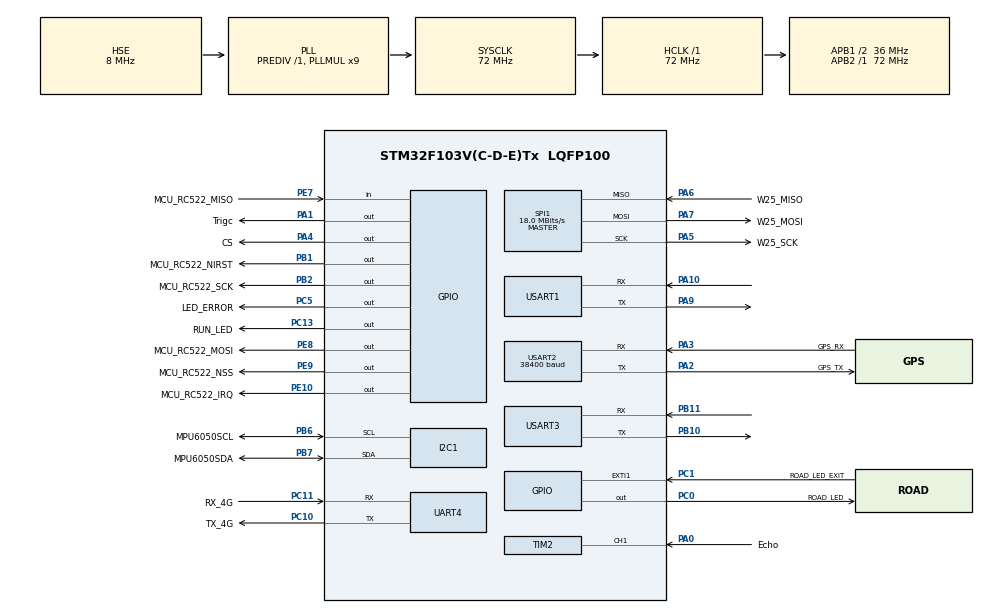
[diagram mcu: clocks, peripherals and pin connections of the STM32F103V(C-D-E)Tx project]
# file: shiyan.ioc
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Dma.Request0=UART4_RX
Dma.Request1=USART1_RX
Dma.UART4_RX.0.Direction=DMA_PERIPH_TO_MEMORY
Dma.UART4_RX.0.Instance=DMA2_Channel3
Dma.UART4_RX.0.MemDataAlignment=DMA_MDATAALIGN_BYTE
Dma.UART4_RX.0.MemInc=DMA_MINC_ENABLE
Dma.UART4_RX.0.Mode=DMA_CIRCULAR
Dma.UART4_RX.0.PeriphDataAlignment=DMA_PDATAALIGN_BYTE
Dma.UART4_RX.0.PeriphInc=DMA_PINC_DISABLE
Dma.UART4_RX.0.Priority=DMA_PRIORITY_LOW
Dma.USART1_RX.1.Direction=DMA_PERIPH_TO_MEMORY
Dma.USART1_RX.1.Instance=DMA1_Channel5
Dma.USART1_RX.1.MemDataAlignment=DMA_MDATAALIGN_BYTE
Dma.USART1_RX.1.MemInc=DMA_MINC_ENABLE
Dma.USART1_RX.1.Mode=DMA_CIRCULAR
Dma.USART1_RX.1.PeriphDataAlignment=DMA_PDATAALIGN_BYTE
Dma.USART1_RX.1.PeriphInc=DMA_PINC_DISABLE
Dma.USART1_RX.1.Priority=DMA_PRIORITY_LOW
FREERTOS.Mutexes01=Mutex_flag,Dynamic,NULL;Mutex_ziyuan,Dynamic,NULL
FREERTOS.Tasks01=defaultTask,0,512,StartDefaultTask,Default,NULL,Dynamic,NULL,NULL
FREERTOS.Timers01=sendTimer,sendCallback,osTimerPeriodic,Default,NULL,Dynamic,NULL
FREERTOS.configTIMER_TASK_PRIORITY=3
FREERTOS.configTOTAL_HEAP_SIZE=20000
FREERTOS.configUSE_STATS_FORMATTING_FUNCTIONS=1
FREERTOS.configUSE_TIMERS=1
FREERTOS.configUSE_TRACE_FACILITY=1
IWDG.Prescaler=IWDG_PRESCALER_64
Mcu.Family=STM32F1
Mcu.Name=STM32F103V(C-D-E)Tx
Mcu.Package=LQFP100
NVIC.DMA1_Channel5_IRQn=true\:5\:0\:false\:false\:true\:true\:false\:true\:true
NVIC.DMA2_Channel3_IRQn=true\:5\:0\:false\:false\:true\:true\:false\:true\:true
NVIC.EXTI1_IRQn=true\:5\:0\:true\:false\:true\:true\:true\:true\:true
NVIC.PriorityGroup=NVIC_PRIORITYGROUP_4
NVIC.TIM2_IRQn=true\:5\:0\:false\:false\:true\:true\:true\:true\:true
NVIC.TIM6_IRQn=true\:15\:0\:false\:false\:true\:false\:false\:true\:true
NVIC.TIM7_IRQn=true\:5\:0\:false\:false\:true\:true\:true\:true\:true
NVIC.TimeBase=TIM6_IRQn
NVIC.TimeBaseIP=TIM6
NVIC.UART4_IRQn=true\:5\:0\:false\:false\:true\:true\:true\:true\:true
NVIC.USART1_IRQn=true\:5\:0\:false\:false\:true\:true\:true\:true\:true
NVIC.USART2_IRQn=true\:5\:0\:false\:false\:true\:true\:true\:true\:true
OSC_IN.Mode=HSE-External-Oscillator
OSC_IN.Signal=RCC_OSC_IN
OSC_OUT.Mode=HSE-External-Oscillator
OSC_OUT.Signal=RCC_OSC_OUT
PA0-WKUP.GPIO_Label=Echo
PA0-WKUP.Signal=S_TIM2_CH1_ETR
PA1.GPIO_Label=Trigc
PA1.Signal=GPIO_Output
PA10.Mode=Asynchronous
PA10.Signal=USART1_RX
PA13.Mode=Serial_Wire
PA13.Signal=SYS_JTMS-SWDIO
PA14.Mode=Serial_Wire
PA14.Signal=SYS_JTCK-SWCLK
PA2.GPIO_Label=GPS_TX
PA2.Mode=Asynchronous
PA2.Signal=USART2_TX
PA3.GPIO_Label=GPS_RX
PA3.Mode=Asynchronous
PA3.Signal=USART2_RX
PA4.GPIO_Label=CS
PA4.Signal=GPIO_Output
PA5.GPIO_Label=W25_SCK
PA5.Mode=Full_Duplex_Master
PA5.Signal=SPI1_SCK
PA6.GPIO_Label=W25_MISO
PA6.Mode=Full_Duplex_Master
PA6.Signal=SPI1_MISO
PA7.GPIO_Label=W25_MOSI
PA7.Mode=Full_Duplex_Master
PA7.Signal=SPI1_MOSI
PA9.Mode=Asynchronous
PA9.Signal=USART1_TX
PB1.GPIO_Label=MCU_RC522_NIRST
PB1.Signal=GPIO_Output
PB10.Mode=Asynchronous
PB10.Signal=USART3_TX
PB11.Mode=Asynchronous
PB11.Signal=USART3_RX
PB2.GPIO_Label=MCU_RC522_SCK
PB2.Signal=GPIO_Output
PB6.GPIO_Label=MPU6050SCL
PB6.Mode=I2C
PB6.Signal=I2C1_SCL
PB7.GPIO_Label=MPU6050SDA
PB7.Mode=I2C
PB7.Signal=I2C1_SDA
PC0.GPIO_Label=ROAD_LED
PC0.Signal=GPIO_Output
PC1.GPIO_Label=ROAD_LED_EXIT
PC1.Signal=GPXTI1
PC10.GPIO_Label=TX_4G
PC10.Mode=Asynchronous
PC10.Signal=UART4_TX
PC11.GPIO_Label=RX_4G
PC11.Mode=Asynchronous
PC11.Signal=UART4_RX
PC13-TAMPER-RTC.GPIO_Label=RUN_LED
PC13-TAMPER-RTC.Signal=GPIO_Output
PC14-OSC32_IN.Mode=LSE-External-Oscillator
PC14-OSC32_IN.Signal=RCC_OSC32_IN
PC15-OSC32_OUT.Mode=LSE-External-Oscillator
PC15-OSC32_OUT.Signal=RCC_OSC32_OUT
PC5.GPIO_Label=LED_ERROR
PC5.Signal=GPIO_Output
PE10.GPIO_Label=MCU_RC522_IRQ
PE10.Signal=GPIO_Output
PE7.GPIO_Label=MCU_RC522_MISO
PE7.Signal=GPIO_Input
PE8.GPIO_Label=MCU_RC522_MOSI
PE8.Signal=GPIO_Output
PE9.GPIO_Label=MCU_RC522_NSS
PE9.Signal=GPIO_Output
ProjectManager.HeapSize=0x200
ProjectManager.StackSize=0x400
ProjectManager.TargetToolchain=EWARM V8
RCC.AHBFreq_Value=72000000
RCC.APB1CLKDivider=RCC_HCLK_DIV2
RCC.APB1Freq_Value=36000000
RCC.APB1TimFreq_Value=72000000
RCC.APB2Freq_Value=72000000
RCC.APB2TimFreq_Value=72000000
RCC.HCLKFreq_Value=72000000
RCC.PLLMUL=RCC_PLL_MUL9
RCC.PLLSourceVirtual=RCC_PLLSOURCE_HSE
RCC.RTCClockSelection=RCC_RTCCLKSOURCE_LSE
RCC.SYSCLKFreq_VALUE=72000000
RCC.SYSCLKSource=RCC_SYSCLKSOURCE_PLLCLK
RCC.USBFreq_Value=72000000
SH.S_TIM2_CH1_ETR.0=TIM2_CH1,Input_Capture1_from_TI1
SPI1.BaudRatePrescaler=SPI_BAUDRATEPRESCALER_4
SPI1.CalculateBaudRate=18.0 MBits/s
SPI1.Direction=SPI_DIRECTION_2LINES
SPI1.Mode=SPI_MODE_MASTER
SPI1.VirtualType=VM_MASTER
TIM2.Channel-Input_Capture1_from_TI1=TIM_CHANNEL_1
TIM2.Period=40000-1
TIM2.Prescaler=72-1
TIM3.AutoReloadPreload=TIM_AUTORELOAD_PRELOAD_ENABLE
TIM3.Period=999
TIM3.Prescaler=72-1
TIM7.Period=999
TIM7.Prescaler=71
UART4.VirtualMode=Asynchronous
USART1.VirtualMode=VM_ASYNC
USART2.BaudRate=38400
USART2.VirtualMode=VM_ASYNC
USART3.VirtualMode=VM_ASYNC
VP_FREERTOS_VS_CMSIS_V1.Mode=CMSIS_V1
VP_IWDG_VS_IWDG.Mode=IWDG_Activate
VP_SYS_VS_tim6.Mode=TIM6
VP_TIM2_VS_ClockSourceINT.Mode=Internal
VP_TIM3_VS_ClockSourceINT.Mode=Internal
VP_TIM7_VS_ClockSourceINT.Mode=Enable_Timer
board=custom

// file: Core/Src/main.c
/* USER CODE BEGIN Header */
/**
  ******************************************************************************
  * @file           : main.c
  * @brief          : Main program body
  ******************************************************************************
  * @attention
  *
  * Copyright (c) 2025 STMicroelectronics.
  * All rights reserved.
  *
  * This software is licensed under terms that can be found in the LICENSE file
  * in the root directory of this software component.
  * If no LICENSE file comes with this software, it is provided AS-IS.
  *
  ******************************************************************************
  */
/* USER CODE END Header */
#include "main.h"
#include "cmsis_os.h"
#include "dma.h"
#include "i2c.h"
#include "iwdg.h"
#include "spi.h"
#include "tim.h"
#include "usart.h"
#include "gpio.h"

/* USER CODE BEGIN Includes */
#include "W25Qx.h"
#include "pubdata.h"
/* USER CODE END Includes */

/* USER CODE BEGIN PTD */
extern osMessageQId EC800_4G_ReceQueueHandle;
extern EC80ReceiveType  receivebuff_4G;

//usart1
//volatile uint8_t rx_len=0;  //接收到的数据长度
//volatile uint8_t recv_end_flag=0;//接收完成标志
//char rx_buffer_usartne[256];//缓存数组
/* USER CODE END PTD */

/* USER CODE BEGIN PM */
extern old_guai_zhang oldone;
/* USER CODE END PM */

void SystemClock_Config(void);
void MX_FREERTOS_Init(void);

int main(void)
{

  /* MCU Configuration--------------------------------------------------------*/

  /* Reset of all peripherals, Initializes the Flash interface and the Systick. */
  HAL_Init();

  /* Configure the system clock */
  SystemClock_Config();

  /* Initialize all configured peripherals */
  MX_GPIO_Init();
  MX_USART1_UART_Init();
  MX_TIM2_Init();
  MX_I2C1_Init();
  MX_SPI1_Init();
  MX_TIM3_Init();
  MX_DMA_Init();
  MX_USART2_UART_Init();
  MX_UART4_Init();
  MX_USART3_UART_Init();
  MX_TIM7_Init();
  MX_IWDG_Init();
  /* USER CODE BEGIN 2 */
  BSP_W25Qx_Init();

  /* USER CODE END 2 */

  /* Call init function for freertos objects (in freertos.c) */
  MX_FREERTOS_Init();

  /* Start scheduler */
  osKernelStart();

  /* We should never get here as control is now taken by the scheduler */
  /* Infinite loop */
  while (1)
  {

  }
}

void SystemClock_Config(void)
{
  RCC_OscInitTypeDef RCC_OscInitStruct = {0};
  RCC_ClkInitTypeDef RCC_ClkInitStruct = {0};

  /** Initializes the RCC Oscillators according to the specified parameters
  * in the RCC_OscInitTypeDef structure.
  */
  RCC_OscInitStruct.OscillatorType = RCC_OSCILLATORTYPE_LSI|RCC_OSCILLATORTYPE_HSE;
  RCC_OscInitStruct.HSEState = RCC_HSE_ON;
  RCC_OscInitStruct.HSEPredivValue = RCC_HSE_PREDIV_DIV1;
  RCC_OscInitStruct.HSIState = RCC_HSI_ON;
  RCC_OscInitStruct.LSIState = RCC_LSI_ON;
  RCC_OscInitStruct.PLL.PLLState = RCC_PLL_ON;
  RCC_OscInitStruct.PLL.PLLSource = RCC_PLLSOURCE_HSE;
  RCC_OscInitStruct.PLL.PLLMUL = RCC_PLL_MUL9;
  if (HAL_RCC_OscConfig(&RCC_OscInitStruct) != HAL_OK)
  {
    Error_Handler();
  }

  /** Initializes the CPU, AHB and APB buses clocks
  */
  RCC_ClkInitStruct.ClockType = RCC_CLOCKTYPE_HCLK|RCC_CLOCKTYPE_SYSCLK
                              |RCC_CLOCKTYPE_PCLK1|RCC_CLOCKTYPE_PCLK2;
  RCC_ClkInitStruct.SYSCLKSource = RCC_SYSCLKSOURCE_PLLCLK;
  RCC_ClkInitStruct.AHBCLKDivider = RCC_SYSCLK_DIV1;
  RCC_ClkInitStruct.APB1CLKDivider = RCC_HCLK_DIV2;
  RCC_ClkInitStruct.APB2CLKDivider = RCC_HCLK_DIV1;

  if (HAL_RCC_ClockConfig(&RCC_ClkInitStruct, FLASH_LATENCY_2) != HAL_OK)
  {
    Error_Handler();
  }
}

void HAL_TIM_PeriodElapsedCallback(TIM_HandleTypeDef *htim)
{
  if (htim->Instance == TIM6) {
    HAL_IncTick();
  }
  /* USER CODE BEGIN Callback 1 */
  else if(htim->Instance == TIM7)
  {
      BaseType_t xHigherPriorityTaskWoken1 = pdFALSE;
      HAL_TIM_Base_Stop_IT(&htim7);
      xQueueSendToBackFromISR(EC800_4G_ReceQueueHandle, &receivebuff_4G, &xHigherPriorityTaskWoken1);
      receivebuff_4G.receive_flag=0u;
      portYIELD_FROM_ISR(xHigherPriorityTaskWoken1);
  }
  /* USER CODE END Callback 1 */
}

void Error_Handler(void)
{
  __disable_irq();
  while (1)
  {
  }
}

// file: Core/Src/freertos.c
/* USER CODE BEGIN Header */
/**
  ******************************************************************************
  * File Name          : freertos.c
  * Description        : Code for freertos applications
  ******************************************************************************
  * @attention
  *
  * Copyright (c) 2025 STMicroelectronics.
  * All rights reserved.
  *
  * This software is licensed under terms that can be found in the LICENSE file
  * in the root directory of this software component.
  * If no LICENSE file comes with this software, it is provided AS-IS.
  *
  ******************************************************************************
  */
/* USER CODE END Header */

#include "FreeRTOS.h"
#include "task.h"
#include "main.h"
#include "cmsis_os.h"

/* USER CODE BEGIN Includes */
#include "chaochengbo.h"
#include "usart.h"
#include "mpu6050.h"
#include "stdlib.h"
#include "W25Qx.h"
#include <string.h>
#include "tim.h"
#include "pubdata.h"
#include "rc522.h"
#include "gps.h"
#include "ec800_at.h"
#include <stdio.h>
#include <cJSON.h>
#include "iwdg.h"
#include "ec800_at.h"
#include "ec800_mqtt.h"
/* USER CODE END Includes */

/* USER CODE BEGIN PTD */

extern old_guai_zhang oldone;//拐杖的数据库
/* USER CODE END PTD */

/* USER CODE BEGIN PD */
EC80ReceiveType  receivebuff_4G;//创建数据接收4G
int light_buff=0;//可以让灯及时的显示在手机上  为什么（中断中不可用互斥锁）  在循环中及时的上传
/* USER CODE END PD */

/* USER CODE BEGIN Variables */

osMessageQId EC800_4G_ReceQueueHandle;//创建4G的消息队列

osThreadId chaoshenboTaskHandle;
osThreadId Mpu6050TaskHandle;
osThreadId cardTaskHandle;
osThreadId Task_check1Handle;
osThreadId Gps_taskHandle;
osThreadId EC800_receive_taskHandle;
osThreadId EC800_send_taskHandle;
osThreadId IDWG_taskHandle;
/* USER CODE END Variables */
osThreadId defaultTaskHandle;
osTimerId sendTimerHandle;
osMutexId Mutex_flagHandle;
osMutexId Mutex_ziyuanHandle;

/* USER CODE BEGIN FunctionPrototypes */
void Task_check(void const * argument);
void IDWG_task(void const * argument);
/* USER CODE END FunctionPrototypes */

void StartDefaultTask(void const * argument);
void sendCallback(void const * argument);

void MX_FREERTOS_Init(void); /* (MISRA C 2004 rule 8.1) */

/* GetIdleTaskMemory prototype (linked to static allocation support) */
void vApplicationGetIdleTaskMemory( StaticTask_t **ppxIdleTaskTCBBuffer, StackType_t **ppxIdleTaskStackBuffer, uint32_t *pulIdleTaskStackSize );

/* GetTimerTaskMemory prototype (linked to static allocation support) */
void vApplicationGetTimerTaskMemory( StaticTask_t **ppxTimerTaskTCBBuffer, StackType_t **ppxTimerTaskStackBuffer, uint32_t *pulTimerTaskStackSize );

/* USER CODE BEGIN GET_IDLE_TASK_MEMORY */
static StaticTask_t xIdleTaskTCBBuffer;
static StackType_t xIdleStack[configMINIMAL_STACK_SIZE];

void vApplicationGetIdleTaskMemory( StaticTask_t **ppxIdleTaskTCBBuffer, StackType_t **ppxIdleTaskStackBuffer, uint32_t *pulIdleTaskStackSize )
{
  *ppxIdleTaskTCBBuffer = &xIdleTaskTCBBuffer;
  *ppxIdleTaskStackBuffer = &xIdleStack[0];
  *pulIdleTaskStackSize = configMINIMAL_STACK_SIZE;
  /* place for user code */
}
/* USER CODE END GET_IDLE_TASK_MEMORY */

/* USER CODE BEGIN GET_TIMER_TASK_MEMORY */
static StaticTask_t xTimerTaskTCBBuffer;
static StackType_t xTimerStack[configTIMER_TASK_STACK_DEPTH];

void vApplicationGetTimerTaskMemory( StaticTask_t **ppxTimerTaskTCBBuffer, StackType_t **ppxTimerTaskStackBuffer, uint32_t *pulTimerTaskStackSize )
{
  *ppxTimerTaskTCBBuffer = &xTimerTaskTCBBuffer;
  *ppxTimerTaskStackBuffer = &xTimerStack[0];
  *pulTimerTaskStackSize = configTIMER_TASK_STACK_DEPTH;
  /* place for user code */
}
/* USER CODE END GET_TIMER_TASK_MEMORY */

void MX_FREERTOS_Init(void) {
  /* Create the mutex(es) */
  /* definition and creation of Mutex_flag */
  osMutexDef(Mutex_flag);
  Mutex_flagHandle = osMutexCreate(osMutex(Mutex_flag));

  /* definition and creation of Mutex_ziyuan */
  osMutexDef(Mutex_ziyuan);
  Mutex_ziyuanHandle = osMutexCreate(osMutex(Mutex_ziyuan));

  /* Create the timer(s) */
  /* definition and creation of sendTimer */
  osTimerDef(sendTimer, sendCallback);
  sendTimerHandle = osTimerCreate(osTimer(sendTimer), osTimerPeriodic, NULL);

  /* USER CODE BEGIN RTOS_QUEUES */
  /* add queues, ... */
  osMessageQDef(EC80_ReceQueue, 3, EC80ReceiveType);
  EC800_4G_ReceQueueHandle = osMessageCreate(osMessageQ(EC80_ReceQueue), NULL);
  /* USER CODE END RTOS_QUEUES */

  /* Create the thread(s) */
  /* definition and creation of defaultTask */
  osThreadDef(defaultTask, StartDefaultTask, osPriorityNormal, 0, 512);
  defaultTaskHandle = osThreadCreate(osThread(defaultTask), NULL);

}

void StartDefaultTask(void const * argument)
{
  /* USER CODE BEGIN StartDefaultTask */

  memset(&oldone,ZE,sizeof(old_guai_zhang));
  /* Infinite loop */
  taskENTER_CRITICAL();
  /* definition and creation of chaoshenboTask */
  osThreadDef(chaoshenboTask, chaoshenbo_Task, osPriorityNormal, 0, 200);
  chaoshenboTaskHandle = osThreadCreate(osThread(chaoshenboTask), NULL);

  /* definition and creation of Mpu6050Task */
  osThreadDef(Mpu6050Task, Mpu6050_Task, osPriorityAboveNormal, 0, 300);
  Mpu6050TaskHandle = osThreadCreate(osThread(Mpu6050Task), NULL);

  /* definition and creation of cardTask */
  osThreadDef(cardTask, Card_Task, osPriorityNormal, 0, 300);
  cardTaskHandle = osThreadCreate(osThread(cardTask), NULL);

  /* definition and creation of Task_check1 */
  osThreadDef(Task_check1, Task_check, osPriorityNormal, 0, 400);
  Task_check1Handle = osThreadCreate(osThread(Task_check1), NULL);

  osThreadDef(Gps_task1, Gps_task, osPriorityNormal, 0, 300);
  Gps_taskHandle = osThreadCreate(osThread(Gps_task1), NULL);

  osThreadDef(EC800_receive_task1, EC800_receive_task, osPriorityNormal, 0, 800);
  EC800_receive_taskHandle = osThreadCreate(osThread(EC800_receive_task1), NULL);

  osThreadDef(EC800_send_task1, EC800_send_task, osPriorityNormal, 0, 800);
  EC800_send_taskHandle = osThreadCreate(osThread(EC800_send_task1), NULL);

  osThreadDef(IDWG_task1,IDWG_task, osPriorityNormal, 0, 200);
  IDWG_taskHandle = osThreadCreate(osThread(IDWG_task1), NULL);

  vTaskDelete(defaultTaskHandle);

   taskEXIT_CRITICAL();

  /* USER CODE END StartDefaultTask */
}

/* sendCallback function */
void sendCallback(void const * argument)
{
  /* USER CODE BEGIN sendCallback */
     mqtt_json_send();
     at_send_OK(MQTT,NULL,NULL);//3秒
  /* USER CODE END sendCallback */
}

/* USER CODE BEGIN Application */
void HAL_GPIO_EXTI_Callback(uint16_t GPIO_Pin)//外部中断控制ROAD
{

  if(light_buff==ON)
  {
     light_buff=ZE;
     HAL_GPIO_WritePin(ROAD_LED_GPIO_Port, ROAD_LED_Pin, GPIO_PIN_RESET);
  }
  else
  {
    light_buff=ON;
    HAL_GPIO_WritePin(ROAD_LED_GPIO_Port, ROAD_LED_Pin, GPIO_PIN_SET);//亮
  }

}
/* USER CODE BEGIN Header_Task_check */
/**
* @brief Function implementing the Task_check1 thread.
* @param argument: Not used
* @retval None
*/
/* USER CODE END Header_Task_check */
void vApplicationStackOverflowHook( TaskHandle_t xTask, char *pcTaskName )
{
    printf("the stack of %s is overflow\r\n",pcTaskName);
}
void Task_check(void const * argument)
{
  /* USER CODE BEGIN Task_check */

  char taskzha[400]={0};
  memset(taskzha,0,400);
  /* Infinite loop */
  for(;;)
  {
     HAL_GPIO_WritePin(RUN_LED_GPIO_Port, RUN_LED_Pin, GPIO_PIN_RESET);
    osDelay(500);
     HAL_GPIO_WritePin(RUN_LED_GPIO_Port, RUN_LED_Pin, GPIO_PIN_SET);
     osDelay(500);
     set_database(LIGHT_F,&light_buff);//控制手电筒 数据库
    vTaskList(taskzha);
    // printf("task_name   task_state  priority   stack  tasK_num\n");
    // printf("%s\n", taskzha);

  }
  /* USER CODE END Task_check */
}

void IDWG_task(void const * argument)
{
  /* USER CODE BEGIN Task_check */
  /* Infinite loop */
  for(;;)
  {

     osDelay(3000);
   HAL_IWDG_Refresh(&hiwdg);

  }
  /* USER CODE END Task_check */
}
/* USER CODE END Application */
